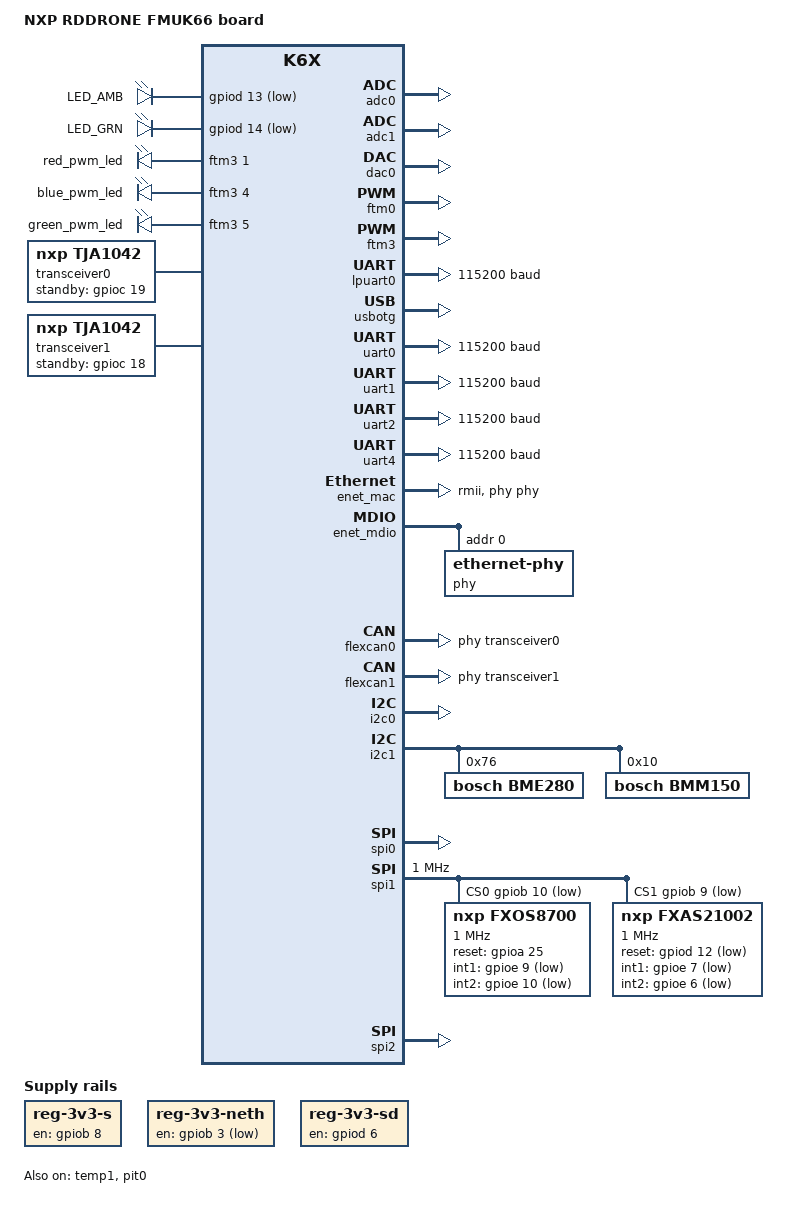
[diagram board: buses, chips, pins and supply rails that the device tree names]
/*
 * Copyright (c) 2021, Electromaticus LLC, 2022 NXP
 *
 * SPDX-License-Identifier: Apache-2.0
 */

/dts-v1/;

#include <nxp/nxp_k66.dtsi>
#include <zephyr/dt-bindings/pwm/pwm.h>
#include "rddrone_fmuk66-pinctrl.dtsi"
#include <freq.h>

/ {
	model = "NXP RDDRONE FMUK66 board";
	compatible = "nxp,mk66f18", "nxp,k66f", "nxp,k6x";

	aliases {
		led0 = &amber_led;
		led1 = &green_led;
		pwm-led0 = &red_pwm_led;
		pwm-led1 = &green_pwm_led;
		pwm-led2 = &blue_pwm_led;
		magn0 = &bmm150;
		red-pwm-led = &red_pwm_led;
		green-pwm-led = &green_pwm_led;
		blue-pwm-led = &blue_pwm_led;
		accel0 = &fxos8700;
	};

	chosen {
		/*
		 * Note: when using DMA, the SRAM region must be set to
		 * a memory region that is not cached by the chip. If the chosen
		 * sram region is changed and DMA is in use, you will
		 * encounter issues!
		 */
		zephyr,sram = &sram0;
		zephyr,flash = &flash0;
		zephyr,code-partition = &slot0_partition;
		zephyr,uart-mcumgr = &lpuart0;
		zephyr,console = &lpuart0;
		zephyr,shell-uart = &lpuart0;
		zephyr,uart-pipe = &lpuart0;
		zephyr,canbus = &flexcan0;
	};

	leds {
		compatible = "gpio-leds";

		amber_led: led_0 {
			gpios = <&gpiod 13 GPIO_ACTIVE_LOW>;
			label = "LED_AMB";
		};

		green_led: led_1 {
			gpios = <&gpiod 14 GPIO_ACTIVE_LOW>;
			label = "LED_GRN";
		};
	};

	pwmleds {
		compatible = "pwm-leds";

		red_pwm_led: red_pwm_led {
			pwms = <&ftm3 1 15625000 PWM_POLARITY_INVERTED>;
		};

		blue_pwm_led: blue_pwm_led {
			pwms = <&ftm3 4 15625000 PWM_POLARITY_INVERTED>;
		};

		green_pwm_led: green_pwm_led {
			pwms = <&ftm3 5 15625000 PWM_POLARITY_INVERTED>;
		};
	};

	transceiver0: can-phy0 {
		compatible = "nxp,tja1042", "can-transceiver-gpio";
		max-bitrate = <5000000>;
		standby-gpios = <&gpioc 19 GPIO_ACTIVE_HIGH>;
		#phy-cells = <0>;
	};

	transceiver1: can-phy1 {
		compatible = "nxp,tja1042", "can-transceiver-gpio";
		max-bitrate = <5000000>;
		standby-gpios = <&gpioc 18 GPIO_ACTIVE_HIGH>;
		#phy-cells = <0>;
	};

	/* This regulator enables the 3V3_S line, which powers sensors on-board. */
	reg-3v3-s {
		compatible = "regulator-fixed";
		regulator-name = "reg-3v3-s";
		enable-gpios = <&gpiob 8 GPIO_ACTIVE_HIGH>;
		startup-delay-us = <2000>;
		regulator-always-on;
		status = "okay";
	};

	/* This regulator enables the onboard Ethernet PHY */
	reg-3v3-neth {
		compatible = "regulator-fixed";
		regulator-name = "reg-3v3-neth";
		enable-gpios = <&gpiob 3 GPIO_ACTIVE_LOW>;
		regulator-always-on;
		status = "okay";
	};

	/* This regulator enables the onboard SD card support */
	reg-3v3-sd {
		compatible = "regulator-fixed";
		regulator-name = "reg-3v3-sd";
		enable-gpios = <&gpiod 6 GPIO_ACTIVE_HIGH>;
		regulator-always-on;
		status = "okay";
	};
};

&sim {
	pllfll-select = <KINETIS_SIM_PLLFLLSEL_MCGPLLCLK>;
	er32k-select = <KINETIS_SIM_ER32KSEL_RTC>;
};

&cpu0 {
	clock-frequency = <160000000>;
};

&adc0 {
	status = "okay";
};

&adc1 {
	status = "okay";
};

&temp1 {
	status = "okay";
};

&dac0 {
	status = "okay";
	voltage-reference = <2>;
};

/* PWM header is powered by FlexTimer 0 for channels 1 to 4 */
&ftm0 {
	status = "okay";
	compatible = "nxp,ftm-pwm";
	#pwm-cells = <3>;
	pinctrl-0 = <&ftm0_default>;
	pinctrl-names = "default";
	clock-source = "fixed";
};

/* RGB LED powered by FlexTimer 3, and PWM headers for channel 5 and 6 */
&ftm3 {
	status = "okay";
	compatible = "nxp,ftm-pwm";
	#pwm-cells = <3>;
	pinctrl-0 = <&ftm3_default>;
	pinctrl-names = "default";
	clock-source = "fixed";
};

/* LPUART connected to debug header */
&lpuart0 {
	status = "okay";
	current-speed = <115200>;
	pinctrl-0 = <&lpuart0_default>;
	pinctrl-names = "default";
};

zephyr_udc0: &usbotg {
	compatible = "nxp,kinetis-usbd";
	status = "okay";
	num-bidir-endpoints = <8>;
};

&uart0 {
	status = "okay";
	current-speed = <115200>;
	pinctrl-0 = <&uart0_default>;
	pinctrl-names = "default";
};

&uart1 {
	status = "okay";
	current-speed = <115200>;
	pinctrl-0 = <&uart1_default>;
	pinctrl-names = "default";
};

&uart2 {
	status = "okay";
	current-speed = <115200>;
	pinctrl-0 = <&uart2_default>;
	pinctrl-names = "default";
};

&uart4 {
	status = "okay";
	current-speed = <115200>;
	pinctrl-0 = <&uart4_default>;
	pinctrl-names = "default";
};

&usbotg {
	compatible = "nxp,kinetis-usbd";
	status = "okay";
	num-bidir-endpoints = <8>;
};

&gpioa {
	status = "okay";
};

&gpiob {
	status = "okay";
};

&gpioc {
	status = "okay";
};

&gpiod {
	status = "okay";
};

&gpioe {
	status = "okay";
};

&flash0 {
	partitions {
		compatible = "fixed-partitions";
		#address-cells = <1>;
		#size-cells = <1>;

		/*
		 * Partition sizes must be aligned
		 * to the flash memory sector size of 4KB.
		 */
		boot_partition: partition@0 {
			label = "mcuboot";
			reg = <0x00000000 DT_SIZE_K(64)>;
			read-only;
		};

		slot0_partition: partition@10000 {
			label = "image-0";
			reg = <0x00010000 DT_SIZE_K(932)>;
		};

		slot1_partition: partition@F9000 {
			label = "image-1";
			reg = <0x000F9000 DT_SIZE_K(932)>;
		};

		storage_partition: partition@1E2000 {
			label = "storage";
			reg = <0x001E2000 DT_SIZE_K(120)>;
		};
	};
};

&enet_mac {
	status = "okay";
	pinctrl-0 = <&enet_default>;
	pinctrl-names = "default";
	phy-connection-type = "rmii";
	phy-handle = <&phy>;
	zephyr,random-mac-address;
};

&enet_mdio {
	status = "okay";
	pinctrl-0 = <&mdio_default>;
	pinctrl-names = "default";

	phy: phy@0 {
		compatible = "ethernet-phy";
		reg = <0>;
		status = "okay";
	};
};

&flexcan0 {
	status = "okay";
	pinctrl-0 = <&flexcan0_default>;
	pinctrl-names = "default";
	phys = <&transceiver0>;
};

&flexcan1 {
	status = "okay";
	pinctrl-0 = <&flexcan1_default>;
	pinctrl-names = "default";
	phys = <&transceiver1>;
};

/* external i2c port */
&i2c0 {
	status = "okay";
	pinctrl-0 = <&i2c0_default>;
	pinctrl-names = "default";
};

/* magnetometer (bmm150), barometer (bmp280), pressure (mpl3115),
 * secure element (a7102ch) i2c bus
 */
&i2c1 {
	status = "okay";
	pinctrl-0 = <&i2c1_default>;
	pinctrl-names = "default";

	/*
	 * This board does not have a BME280, it has a BMP280.
	 * The two parts are incredibly similar, so the BME280 driver works for
	 * BMP280 as well.
	 */
	bme280@76 {
		compatible = "bosch,bme280";
		status = "okay";
		reg = <0x76>;
	};

	bmm150: bmm150@10 {
		compatible = "bosch,bmm150";
		status = "okay";
		reg = <0x10>;
	};
};

/* f-ram spi port */
&spi0 {
	status = "okay";
	pinctrl-0 = <&spi0_default>;
	pinctrl-names = "default";
};

/* flash (w25x40), accel, magneto (fxos8700), gyro (fxas2100) */
&spi1 {
	status = "okay";
	pinctrl-0 = <&spi1_default>;
	pinctrl-names = "default";
	/*
	 * cs-gpios needs to be populated as per the schematics
	 * fxos8700  - CS#0
	 * fxas21002 - CS#1
	 */
	cs-gpios = <&gpiob 10 GPIO_ACTIVE_LOW>,
		   <&gpiob 9 GPIO_ACTIVE_LOW>;
	clock-frequency = <DT_FREQ_M(1)>;

	fxos8700: fxos8700@0 {
		compatible = "nxp,fxos8700";
		reg = <0>;
		spi-max-frequency = <DT_FREQ_M(1)>;
		reset-gpios = <&gpioa 25 GPIO_ACTIVE_HIGH>;
		int1-gpios = <&gpioe 9 GPIO_ACTIVE_LOW>;
		int2-gpios = <&gpioe 10 GPIO_ACTIVE_LOW>;
		status = "okay";
	};

	fxas21002: fxas21002@1 {
		compatible = "nxp,fxas21002";
		reg = <1>;
		spi-max-frequency = <DT_FREQ_M(1)>;
		reset-gpios = <&gpiod 12 GPIO_ACTIVE_LOW>;
		int1-gpios = <&gpioe 7 GPIO_ACTIVE_LOW>;
		int2-gpios = <&gpioe 6 GPIO_ACTIVE_LOW>;
		status = "okay";
	};
};

/* external spi */
&spi2 {
	status = "okay";
	pinctrl-0 = <&spi2_default>;
	pinctrl-names = "default";
};

&edma0 {
	status = "okay";
};

&pit0 {
	status = "okay";
};
